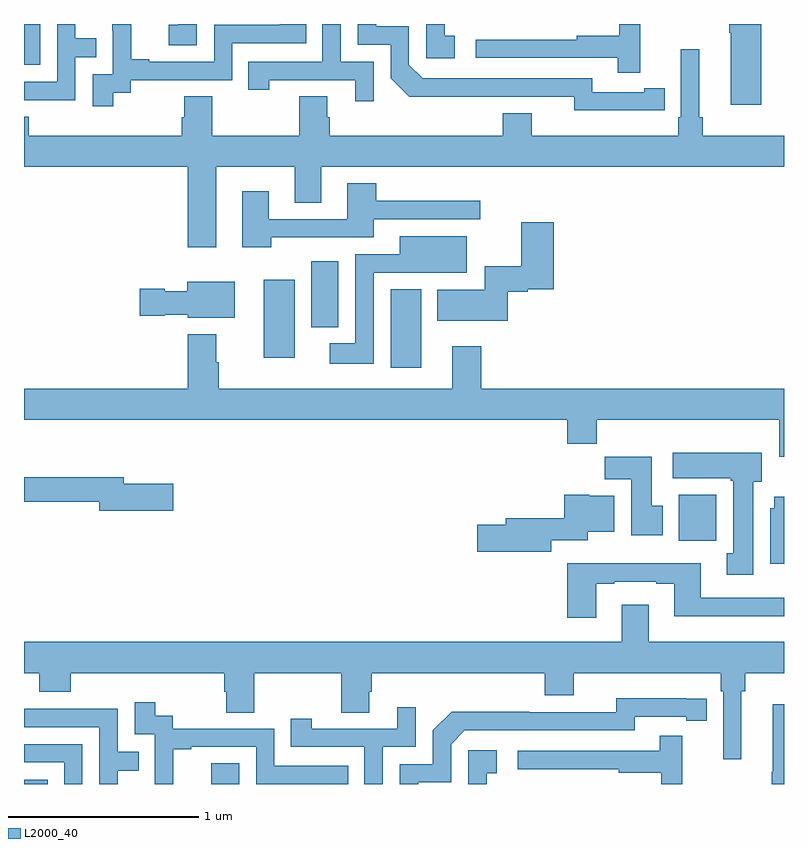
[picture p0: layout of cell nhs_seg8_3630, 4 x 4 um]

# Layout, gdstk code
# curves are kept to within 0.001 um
import gdstk
lib = gdstk.Library(unit=1e-6, precision=1e-09)
def R(c, l, rs):  # rectangles x0, y0, x1, y1
    for r in rs: c.add(gdstk.rectangle(r[:2], r[2:], *l))
def P(c, l, *ps):  # polygons
    for p in ps: c.add(gdstk.Polygon(p, *l))
L2000_40 = (2000, 40)

nhs_seg8_3630 = lib.new_cell('nhs_seg8_3630')
R(nhs_seg8_3630, L2000_40, [(335,1131.9,335.126,1131.922), (335.985,1131.9,336.132,1132.009), (338.447,1133.18,338.644,1133.422), (336.929,1134.09,337.09,1134.505), (336.263,1134.144,336.424,1134.553), (336.512,1134.305,336.655,1134.652), (335,1135.686,335.085,1135.9)])
P(nhs_seg8_3630, L2000_40, [(335.47,1135.537),(335.562,1135.537),(335.562,1135.605),(336.096,1135.605),(336.096,1135.8),(336.485,1135.8),(336.485,1135.9),(336.345,1135.9),(336.345,1135.896),(336,1135.896),(336,1135.701),(335.659,1135.701),(335.659,1135.714),(335.564,1135.714),(335.564,1135.9),(335.465,1135.9),(335.465,1135.865),(335.466,1135.865),(335.466,1135.635),(335.361,1135.635),(335.361,1135.467),(335.47,1135.467)],
  [(337.267,1135.839),(337.214,1135.839),(337.214,1135.9),(337.116,1135.9),(337.116,1135.719),(337.267,1135.719)],
  [(335.271,1135.725),(335.381,1135.725),(335.381,1135.826),(335.271,1135.826),(335.271,1135.9),(335.175,1135.9),(335.175,1135.596),(335,1135.596),(335,1135.5),(335.271,1135.5)],
  [(338.879,1135.9),(338.713,1135.9),(338.713,1135.855),(338.72,1135.855),(338.72,1135.476),(338.879,1135.476)],
  [(335.91,1135.9),(335.812,1135.9),(335.812,1135.897),(335.763,1135.897),(335.763,1135.788),(335.91,1135.788)],
  [(336.84,1135.701),(336.666,1135.701),(336.666,1135.9),(336.57,1135.9),(336.57,1135.701),(336.181,1135.701),(336.181,1135.554),(336.292,1135.554),(336.292,1135.605),(336.743,1135.605),(336.743,1135.494),(336.84,1135.494)],
  [(338.243,1135.9),(338.133,1135.9),(338.133,1135.838),(337.909,1135.838),(337.909,1135.818),(337.377,1135.818),(337.377,1135.722),(338.125,1135.722),(338.125,1135.644),(338.243,1135.644)],
  [(338.264,1135.446),(338.372,1135.446),(338.372,1135.562),(338.264,1135.562),(338.264,1135.542),(337.992,1135.542),(337.992,1135.614),(337.098,1135.614),(337.026,1135.686),(337.026,1135.887),(336.853,1135.887),(336.853,1135.9),(336.756,1135.9),(336.756,1135.791),(336.93,1135.791),(336.93,1135.614),(337.028,1135.517),(337.896,1135.518),(337.896,1135.445)],
  [(336.013,1135.148),(336.425,1135.148),(336.425,1134.958),(336.565,1134.958),(336.565,1135.148),(339,1135.148),(339,1135.312),(338.573,1135.312),(338.573,1135.408),(338.554,1135.408),(338.554,1135.768),(338.457,1135.768),(338.457,1135.408),(338.444,1135.408),(338.444,1135.312),(337.672,1135.312),(337.672,1135.429),(337.52,1135.429),(337.52,1135.312),(336.608,1135.312),(336.608,1135.41),(336.595,1135.41),(336.595,1135.52),(336.448,1135.52),(336.448,1135.312),(335.991,1135.312),(335.991,1135.52),(335.843,1135.52),(335.843,1135.41),(335.831,1135.41),(335.831,1135.312),(335.024,1135.312),(335.024,1135.411),(335,1135.411),(335,1135.148),(335.861,1135.148),(335.861,1134.726),(336.013,1134.726)],
  [(336.302,1134.777),(336.841,1134.777),(336.841,1134.873),(337.402,1134.873),(337.402,1134.97),(336.854,1134.97),(336.854,1135.063),(336.701,1135.063),(336.701,1134.873),(336.289,1134.873),(336.289,1135.021),(336.149,1135.021),(336.149,1134.726),(336.302,1134.726)],
  [(337.547,1134.491),(337.65,1134.491),(337.65,1134.503),(337.787,1134.503),(337.787,1134.856),(337.616,1134.856),(337.616,1134.626),(337.424,1134.626),(337.424,1134.502),(337.175,1134.502),(337.175,1134.338),(337.547,1134.338)],
  [(336.84,1134.591),(337.086,1134.591),(337.086,1134.59),(337.33,1134.59),(337.33,1134.784),(336.977,1134.784),(336.977,1134.687),(336.744,1134.687),(336.744,1134.22),(336.609,1134.22),(336.609,1134.113),(336.84,1134.113)],
  [(336.109,1134.544),(335.858,1134.544),(335.858,1134.493),(335.742,1134.493),(335.742,1134.506),(335.61,1134.506),(335.61,1134.364),(335.742,1134.364),(335.742,1134.371),(335.862,1134.371),(335.862,1134.353),(336.109,1134.353)],
  [(339,1133.98),(337.406,1133.98),(337.406,1134.205),(337.253,1134.205),(337.253,1133.98),(336.026,1133.98),(336.026,1134.119),(336.013,1134.119),(336.013,1134.268),(335.861,1134.268),(335.861,1133.98),(335,1133.98),(335,1133.816),(337.859,1133.816),(337.859,1133.692),(338.015,1133.692),(338.015,1133.816),(338.975,1133.816),(338.975,1133.622),(339,1133.622)],
  [(338.839,1133.49),(338.884,1133.49),(338.884,1133.644),(338.415,1133.644),(338.415,1133.51),(338.719,1133.51),(338.719,1133.497),(338.732,1133.497),(338.732,1133.114),(338.699,1133.114),(338.699,1133.001),(338.839,1133.001)],
  [(338.362,1133.364),(338.305,1133.364),(338.305,1133.623),(338.056,1133.623),(338.056,1133.504),(338.195,1133.504),(338.195,1133.208),(338.362,1133.208)],
  [(335.785,1133.481),(335.524,1133.481),(335.524,1133.515),(335,1133.515),(335,1133.386),(335.396,1133.386),(335.396,1133.339),(335.785,1133.339)],
  [(337.774,1133.184),(337.966,1133.184),(337.966,1133.228),(338.107,1133.228),(338.107,1133.416),(337.974,1133.416),(337.974,1133.422),(337.844,1133.422),(337.844,1133.3),(337.535,1133.3),(337.535,1133.264),(337.386,1133.264),(337.386,1133.122),(337.774,1133.122)],
  [(339,1133.413),(338.948,1133.413),(338.948,1133.352),(338.927,1133.352),(338.927,1133.06),(339,1133.06)],
  [(338.011,1132.953),(338.107,1132.953),(338.107,1132.965),(338.327,1132.965),(338.327,1132.953),(338.423,1132.953),(338.423,1132.784),(339,1132.784),(339,1132.881),(338.563,1132.881),(338.563,1133.062),(337.859,1133.062),(337.859,1132.776),(338.011,1132.776)],
  [(338.776,1132.388),(338.795,1132.388),(338.795,1132.484),(339,1132.484),(339,1132.648),(338.287,1132.648),(338.287,1132.843),(338.147,1132.843),(338.147,1132.648),(335,1132.648),(335,1132.484),(335.081,1132.484),(335.081,1132.385),(335.246,1132.385),(335.246,1132.484),(336.053,1132.484),(336.053,1132.386),(336.065,1132.386),(336.065,1132.276),(336.213,1132.276),(336.213,1132.484),(336.67,1132.484),(336.67,1132.276),(336.817,1132.276),(336.817,1132.386),(336.83,1132.386),(336.83,1132.484),(337.742,1132.484),(337.742,1132.367),(337.894,1132.367),(337.894,1132.484),(338.666,1132.484),(338.666,1132.388),(338.679,1132.388),(338.679,1132.029),(338.776,1132.029)],
  [(337.075,1131.909),(337.248,1131.909),(337.248,1132.11),(337.32,1132.182),(338.214,1132.182),(338.214,1132.254),(338.486,1132.254),(338.486,1132.234),(338.594,1132.234),(338.594,1132.35),(338.118,1132.351),(338.118,1132.278),(337.658,1132.278),(337.658,1132.28),(337.25,1132.28),(337.152,1132.182),(337.152,1132.005),(336.978,1132.005),(336.978,1131.9),(337.075,1131.9)],
  [(335.786,1132.083),(335.881,1132.083),(335.881,1132.095),(336.222,1132.095),(336.222,1131.9),(336.707,1131.9),(336.707,1131.996),(336.318,1131.996),(336.318,1132.191),(335.784,1132.191),(335.784,1132.26),(335.692,1132.26),(335.692,1132.33),(335.583,1132.33),(335.583,1132.161),(335.688,1132.161),(335.688,1131.932),(335.687,1131.932),(335.687,1131.9),(335.786,1131.9)],
  [(339,1132.321),(338.942,1132.321),(338.942,1131.965),(338.935,1131.965),(338.935,1131.9),(339,1131.9)],
  [(336.888,1132.095),(337.062,1132.095),(337.062,1132.303),(336.965,1132.303),(336.965,1132.191),(336.514,1132.191),(336.514,1132.243),(336.403,1132.243),(336.403,1132.095),(336.792,1132.095),(336.792,1131.9),(336.888,1131.9)],
  [(335.493,1131.97),(335.603,1131.97),(335.603,1132.071),(335.493,1132.071),(335.493,1132.296),(335,1132.296),(335,1132.2),(335.397,1132.2),(335.397,1131.9),(335.493,1131.9)],
  [(338.465,1132.153),(338.347,1132.153),(338.347,1132.074),(337.599,1132.074),(337.599,1131.978),(338.131,1131.978),(338.131,1131.958),(338.355,1131.958),(338.355,1131.9),(338.465,1131.9)],
  [(335.307,1132.11),(335,1132.11),(335,1132.014),(335.211,1132.014),(335.211,1131.9),(335.307,1131.9)],
  [(337.436,1131.957),(337.489,1131.957),(337.489,1132.078),(337.338,1132.078),(337.338,1131.9),(337.436,1131.9)])

lib.write_gds('nhs_seg8_3630.gds')
